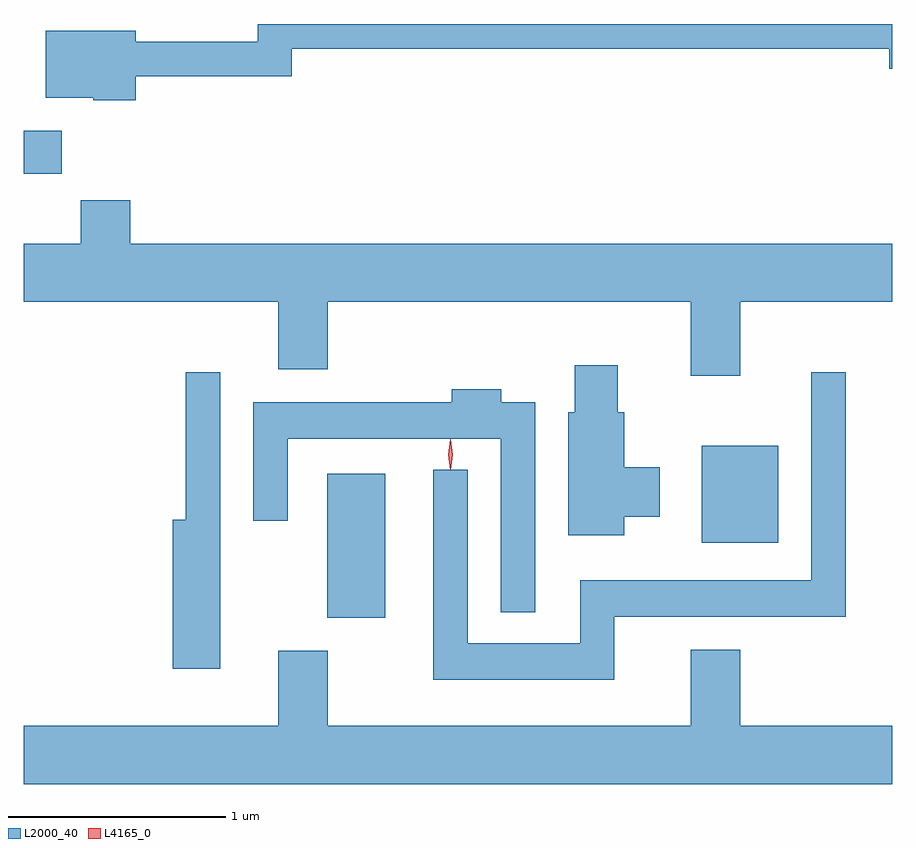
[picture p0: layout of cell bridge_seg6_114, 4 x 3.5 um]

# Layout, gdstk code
import gdstk
lib = gdstk.Library(unit=1e-6, precision=1e-09)
def R(c, l, rs):  # rectangles x0, y0, x1, y1
    for r in rs: c.add(gdstk.rectangle(r[:2], r[2:], *l))
def P(c, l, *ps):  # polygons
    for p in ps: c.add(gdstk.Polygon(p, *l))
L2000_40 = (2000, 40)
L4165_0 = (4165, 0)

bridge_seg6_114 = lib.new_cell('bridge_seg6_114')
R(bridge_seg6_114, L2000_40, [(1083.656,1599.641,1083.924,1600.304), (1085.381,1599.986,1085.734,1600.434), (1082.259,1601.686,1082.434,1601.884)])
P(bridge_seg6_114, L2000_40, [(1082.774,1602.136),(1083.494,1602.136),(1083.494,1602.261),(1086.246,1602.261),(1086.246,1602.171),(1086.259,1602.171),(1086.259,1602.376),(1083.336,1602.376),(1083.336,1602.294),(1082.774,1602.294),(1082.774,1602.344),(1082.361,1602.344),(1082.361,1602.036),(1082.58,1602.036),(1082.58,1602.026),(1082.774,1602.026)],
  [(1085.559,1601.096),(1086.259,1601.096),(1086.259,1601.364),(1082.749,1601.364),(1082.749,1601.564),(1082.521,1601.564),(1082.521,1601.364),(1082.259,1601.364),(1082.259,1601.096),(1083.431,1601.096),(1083.431,1600.786),(1083.659,1600.786),(1083.659,1601.096),(1085.331,1601.096),(1085.331,1600.756),(1085.559,1600.756)],
  [(1085.024,1600.106),(1085.189,1600.106),(1085.189,1600.334),(1085.024,1600.334),(1085.024,1600.589),(1084.994,1600.589),(1084.994,1600.804),(1084.796,1600.804),(1084.796,1600.589),(1084.766,1600.589),(1084.766,1600.021),(1085.024,1600.021)],
  [(1084.979,1599.646),(1086.044,1599.646),(1086.044,1600.773),(1085.886,1600.773),(1085.886,1599.814),(1084.821,1599.814),(1084.821,1599.524),(1084.304,1599.524),(1084.304,1600.323),(1084.146,1600.323),(1084.146,1599.356),(1084.979,1599.356)],
  [(1083.164,1600.773),(1083.006,1600.773),(1083.006,1600.094),(1082.946,1600.094),(1082.946,1599.406),(1083.164,1599.406)],
  [(1084.614,1600.634),(1084.459,1600.634),(1084.459,1600.694),(1084.231,1600.694),(1084.231,1600.634),(1083.316,1600.634),(1083.316,1600.088),(1083.474,1600.088),(1083.474,1600.466),(1084.456,1600.466),(1084.456,1599.668),(1084.614,1599.668)],
  [(1086.259,1599.144),(1085.559,1599.144),(1085.559,1599.494),(1085.331,1599.494),(1085.331,1599.144),(1083.659,1599.144),(1083.659,1599.489),(1083.431,1599.489),(1083.431,1599.144),(1082.259,1599.144),(1082.259,1598.876),(1086.259,1598.876)])
P(bridge_seg6_114, L4165_0, [(1084.225,1600.323),(1084.224,1600.324),(1084.215,1600.393),(1084.224,1600.462),(1084.225,1600.463),(1084.226,1600.462),(1084.235,1600.393),(1084.226,1600.324)])

lib.write_gds('bridge_seg6_114.gds')
